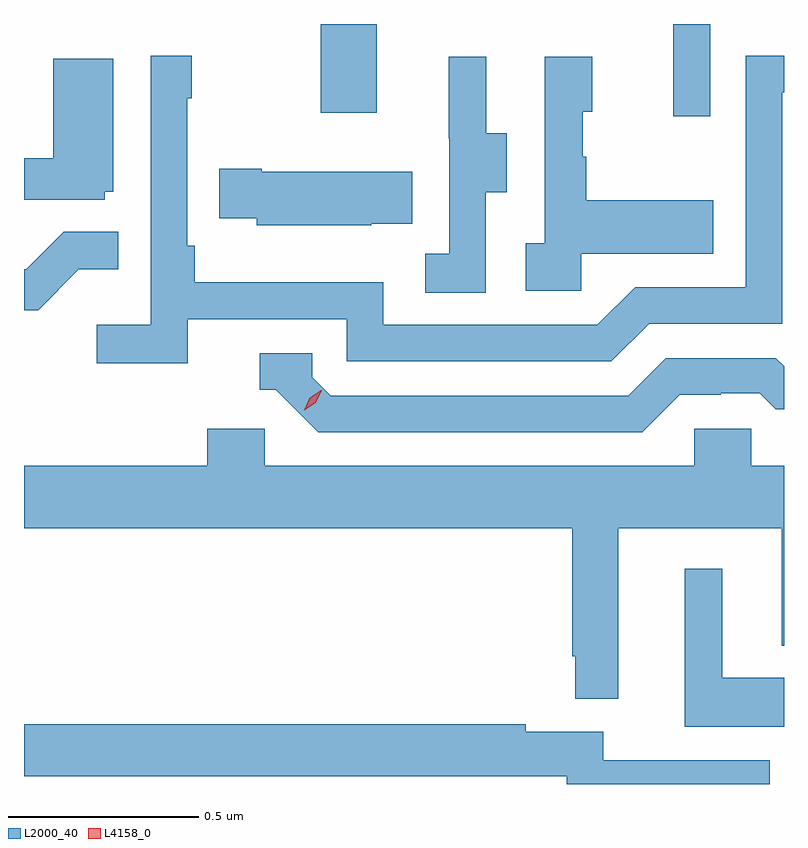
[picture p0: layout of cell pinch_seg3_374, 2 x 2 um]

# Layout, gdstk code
import gdstk
lib = gdstk.Library(unit=1e-6, precision=1e-09)
def R(c, l, rs):  # rectangles x0, y0, x1, y1
    for r in rs: c.add(gdstk.rectangle(r[:2], r[2:], *l))
def P(c, l, *ps):  # polygons
    for p in ps: c.add(gdstk.Polygon(p, *l))
L2000_40 = (2000, 40)
L4158_0 = (4158, 0)

pinch_seg3_374 = lib.new_cell('pinch_seg3_374')
R(pinch_seg3_374, L2000_40, [(1012.352,702,1012.449,702.243), (1011.424,702.009,1011.571,702.243)])
P(pinch_seg3_374, L2000_40, [(1011.074,701.466),(1011.492,701.466),(1011.492,701.355),(1012.189,701.355),(1012.288,701.454),(1012.638,701.454),(1012.638,702.063),(1012.643,702.063),(1012.643,702.159),(1012.542,702.159),(1012.542,701.55),(1012.251,701.55),(1012.152,701.451),(1011.588,701.451),(1011.588,701.563),(1011.092,701.563),(1011.092,701.659),(1011.072,701.659),(1011.072,702.047),(1011.085,702.047),(1011.085,702.16),(1010.976,702.16),(1010.976,701.452),(1010.835,701.452),(1010.835,701.35),(1011.074,701.35)],
  [(1012.11,701.639),(1012.457,701.639),(1012.457,701.779),(1012.123,701.779),(1012.123,701.894),(1012.113,701.894),(1012.113,702.012),(1012.138,702.012),(1012.138,702.157),(1012.014,702.157),(1012.014,701.666),(1011.963,701.666),(1011.963,701.541),(1012.11,701.541)],
  [(1011.858,701.8),(1011.913,701.8),(1011.913,701.955),(1011.859,701.955),(1011.859,702.157),(1011.761,702.157),(1011.761,701.943),(1011.762,701.943),(1011.762,701.639),(1011.699,701.639),(1011.699,701.536),(1011.858,701.536)],
  [(1010.856,701.802),(1010.878,701.802),(1010.878,702.151),(1010.72,702.151),(1010.72,701.89),(1010.643,701.89),(1010.643,701.781),(1010.856,701.781)],
  [(1011.557,701.717),(1011.665,701.717),(1011.665,701.854),(1011.268,701.854),(1011.268,701.862),(1011.157,701.862),(1011.157,701.732),(1011.255,701.732),(1011.255,701.714),(1011.557,701.714)],
  [(1010.787,701.597),(1010.891,701.597),(1010.891,701.696),(1010.747,701.696),(1010.649,701.598),(1010.643,701.598),(1010.643,701.49),(1010.68,701.49)],
  [(1012.369,701.268),(1012.476,701.268),(1012.476,701.271),(1012.579,701.271),(1012.621,701.229),(1012.643,701.229),(1012.643,701.342),(1012.621,701.364),(1012.332,701.364),(1012.233,701.265),(1011.45,701.265),(1011.402,701.313),(1011.402,701.376),(1011.263,701.376),(1011.263,701.28),(1011.306,701.28),(1011.417,701.169),(1012.27,701.169)],
  [(1011.276,701.178),(1011.125,701.178),(1011.125,701.08),(1010.643,701.08),(1010.643,700.916),(1012.086,700.916),(1012.086,700.579),(1012.094,700.579),(1012.094,700.467),(1012.207,700.467),(1012.207,700.916),(1012.637,700.916),(1012.637,700.607),(1012.643,700.607),(1012.643,701.08),(1012.557,701.08),(1012.557,701.178),(1012.407,701.178),(1012.407,701.08),(1011.276,701.08)],
  [(1012.643,700.522),(1012.48,700.522),(1012.48,700.81),(1012.382,700.81),(1012.382,700.394),(1012.643,700.394)],
  [(1012.606,700.305),(1012.167,700.305),(1012.167,700.38),(1011.964,700.38),(1011.964,700.4),(1010.643,700.4),(1010.643,700.264),(1012.071,700.264),(1012.071,700.243),(1012.606,700.243)])
P(pinch_seg3_374, L4158_0, [(1011.38,701.226),(1011.38,701.226),(1011.395,701.259),(1011.425,701.279),(1011.426,701.279),(1011.426,701.279),(1011.411,701.246),(1011.38,701.226)])

lib.write_gds('pinch_seg3_374.gds')
